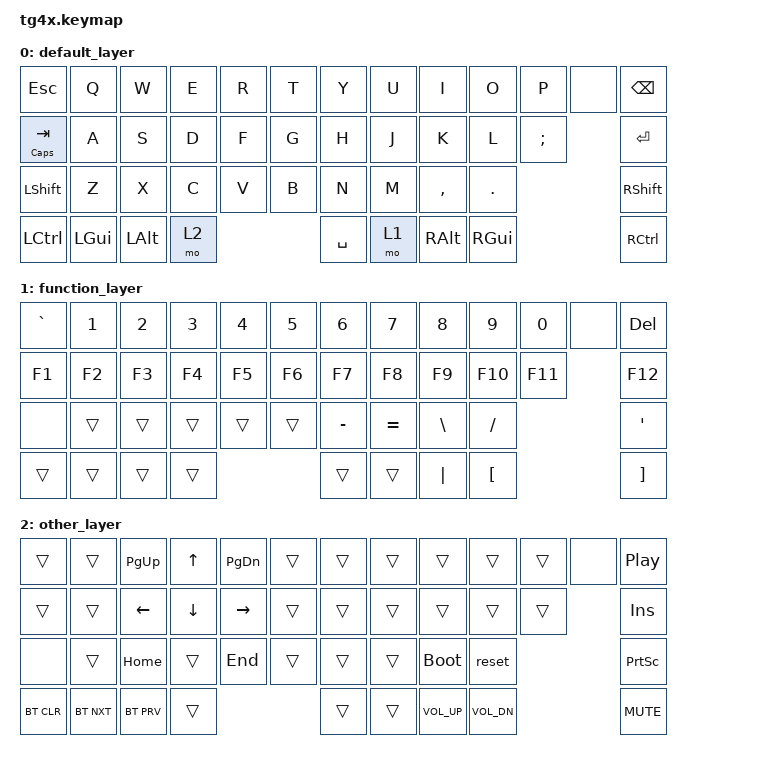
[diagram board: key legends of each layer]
/*
 * Copyright (c) 2020 The ZMK Contributors
 *
 * SPDX-License-Identifier: MIT
 */

#include <behaviors.dtsi>
#include <dt-bindings/zmk/keys.h>
#include <dt-bindings/zmk/bt.h>

&led_strip {
    chain-length = <1>;
};

/ {
	behaviors {
		ht: hold_tap {
			compatible = "zmk,behavior-hold-tap";
			label = "Hold Tap";
			#binding-cells = <2>;
			tapping_term_ms = <200>;
			flavor = "tap-preferred";
			bindings = <&kp>, <&kp>;
		};
	};

	keymap {
		compatible = "zmk,keymap";

		default_layer {
			bindings = <
&kp ESC      &kp Q    &kp W    &kp E &kp R &kp T &kp Y     &kp U &kp I     &kp O    &kp P    &none &kp BSPC
&ht CAPS TAB &kp A    &kp S    &kp D &kp F &kp G &kp H     &kp J &kp K     &kp L    &kp SEMI       &kp RET
&kp LSHFT    &kp Z    &kp X    &kp C &kp V &kp B &kp N     &kp M &kp COMMA &kp DOT                 &kp RSHFT
&kp LCTRL    &kp LGUI &kp LALT &mo 2             &kp SPACE &mo 1 &kp RALT  &kp RGUI                &kp RCTRL
			>;
		};

		function_layer {
			bindings = <
&kp GRAVE &kp N1 &kp N2 &kp N3 &kp N4 &kp N5 &kp N6    &kp N7    &kp N8   &kp N9   &kp N0  &none &kp DEL
&kp F1    &kp F2 &kp F3 &kp F4 &kp F5 &kp F6 &kp F7    &kp F8    &kp F9   &kp F10  &kp F11       &kp F12
&none     &trans &trans &trans &trans &trans &kp MINUS &kp EQUAL &kp BSLH &kp FSLH               &kp APOS
&trans    &trans &trans &trans                         &trans    &trans   &kp PIPE &kp LBKT      &kp RBKT
			>;
		};

		other_layer {
			bindings = <
&trans     &trans     &kp PG_UP  &kp UP    &kp PG_DN &trans    &trans &trans &trans       &trans &trans &none &kp C_PLAY_PAUSE
&trans     &trans     &kp LEFT   &kp DOWN  &kp RIGHT &trans    &trans &trans &trans       &trans &trans       &kp INSERT
&none      &trans     &kp HOME   &trans    &kp END   &trans    &trans &trans &bootloader  &reset              &kp PSCRN
&bt BT_CLR &bt BT_NXT &bt BT_PRV &trans                        &trans &trans &kp C_VOL_UP &kp C_VOL_DN        &kp C_MUTE
			>;
		};

	};
};
